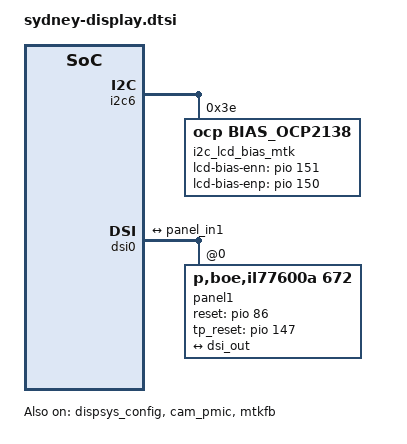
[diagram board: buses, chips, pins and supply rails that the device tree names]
/* Copyright (c) 2024, Motorola Mobility Inc. All rights reserved.
 *
 * This program is free software; you can redistribute it and/or modify
 * it under the terms of the GNU General Public License version 2 and
 * only version 2 as published by the Free Software Foundation.
 *
 * This program is distributed in the hope that it will be useful,
 * but WITHOUT ANY WARRANTY; without even the implied warranty of
 * MERCHANTABILITY or FITNESS FOR A PARTICULAR PURPOSE.  See the
 * GNU General Public License for more details.
 */

&dispsys_config {
	force_dyn_mipi_change;
};

&i2c6 {
	id = <6>;

	i2c_lcd_bias_mtk:i2c_lcd_bias@3e {
		compatible = "ocp,bias_ocp2138";
		reg = <0x3e>;
		ocp,lcd-bias-enn-gpio = <&pio 151 0>;
		ocp,lcd-bias-enp-gpio = <&pio 150 0>;
		biasp_en_pin = <150>;
		biasn_en_pin = <151>;
		status = "okay";
	};
};

&mtk_leds {
	/delete-property/ compatible;
	/delete-property/ led_mode;
	/delete-property/ gate_enable;
	/delete-property/ pwm_config;

	compatible = "mediatek,disp-leds";

	backlight {
		label = "lcd-backlight";
		led_mode = <4>;
		max-brightness = <2047>;
		max-hw-brightness = <2047>;
		default-brightness = <889>;
		lk-default-brightness = <1461>;
		default-state = "on";
	};
};

&disp_rdma0 {
       MTK,disable_rdma_underflow = <1>;
};

&cam_pmic {
	/delete-property/ init-value;

	/* default dio8501 output status, 1001 bit 1 --> dvdd, bit 4 --> vci */
	init-value = <0x09>;
	status = "okay";
};

&pio {
	mtkfb_pins_lcm_rst_out1_gpio: lcm_rst_out1_gpio {
		pins_cmd_dat {
			pinmux = <PINMUX_GPIO86__FUNC_GPIO86>;
			slew-rate = <1>;
			output-high;
		};
	};

	mtkfb_pins_lcm_rst_out0_gpio: lcm_rst_out0_gpio {
		pins_cmd_dat {
			pinmux = <PINMUX_GPIO86__FUNC_GPIO86>;
			slew-rate = <1>;
			output-low;
		};
	};

	mtkfb_pins_lcm_dsi_te: lcm_dsi_te {
		pins_cmd_dat {
			pinmux = <PINMUX_GPIO85__FUNC_DSI_TE>;
		};
	};
};

&mtkfb {
	pinctrl-names = "lcm_rst_out1_gpio", "lcm_rst_out0_gpio",
		"mode_te_te";
	pinctrl-0 = <&mtkfb_pins_lcm_rst_out1_gpio>;
	pinctrl-1 = <&mtkfb_pins_lcm_rst_out0_gpio>;
	pinctrl-2 = <&mtkfb_pins_lcm_dsi_te>;
	status = "okay";
};

&dispsys_config {
	pinctrl-names = "lcm_rst_out1_gpio", "lcm_rst_out0_gpio",
		"mode_te_te";
	pinctrl-0 = <&mtkfb_pins_lcm_rst_out1_gpio>;
	pinctrl-1 = <&mtkfb_pins_lcm_rst_out0_gpio>;
	pinctrl-2 = <&mtkfb_pins_lcm_dsi_te>;
	status = "okay";
};

&dsi0 {
	status = "okay";
	#address-cells = <1>;
	#size-cells = <0>;
	panel1@0 {
		/delete-property/ compatible;
		/delete-property/ pm-enable-gpios;
		/delete-property/ reset-gpios;
		/delete-property/gate-ic;
		compatible = "p,boe,il77600a,672";

		reg = <0>;

		reset-gpios = <&pio 86 0>;
		tp_reset-gpios = <&pio 147 0>;

		pinctrl-names = "default";

		port {
			panel_in1: endpoint {
				remote-endpoint = <&dsi_out>;
			};
		};
	};

	ports {
		port {
			dsi_out: endpoint {
				remote-endpoint = <&panel_in1>;
			};
		};
	};
};
